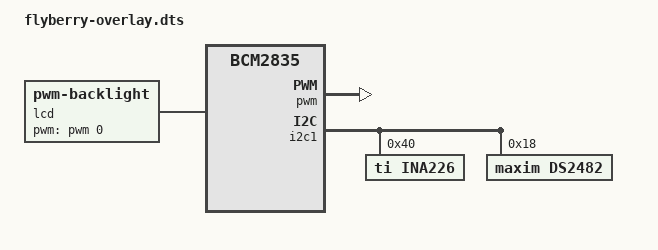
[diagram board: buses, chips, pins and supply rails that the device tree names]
/dts-v1/;
/plugin/;

/ {
    compatible = "brcm,bcm2835";

    fragment@0 {
        target = <&gpio>;
        __overlay__ {
            pwm_pins: pwm_pins {
                brcm,pins = <12>;
                brcm,function = <4>; /* Alt0 */
            };
        };
    };

    fragment@1 {
        target = <&pwm>;
        frag1: __overlay__ {
            pinctrl-names = "default";
            pinctrl-0 = <&pwm_pins>;
            assigned-clock-rates = <1000000>;
            status = "okay";
        };
    };

    fragment@2 {
        target-path = "/";
        __overlay__ {
           lcd: lcd {
				compatible = "pwm-backlight";
				brightness-levels = <255 180 150 120 100 90 80 70 60 40>;
				default-brightness-level = <10>;
				pwms = <&pwm 0 5000000 0>;
			};
        };
    };
    fragment@3 {
		target = <&i2c1>;
		__overlay__ {
			#address-cells = <1>;
			#size-cells = <0>;
			ina226@40 {
				compatible = "ti,ina226";
				reg = <0x40>;
				status = "okay";
				shunt-resistor = <10000>;
			};
		};
	};

	fragment@4 {
		arget = <&i2c1>;
		__overlay__ {
			#address-cells = <1>;
			#size-cells = <0>;

			tsl2591: tsl2591@29 {
			    compatible = "amtstaos,tsl2591";
			    reg = <0x29>;
			};
		};
	};
      
   fragment@5 {
	target = <&i2c1>;    
	__overlay__ {
		#address-cells = <1>;
		#size-cells = <0>;
		ds2482: ds2482@18 {
		        compatible = "maxim,ds2482";
		        reg = <0x18>;
            	};
	};
   };
};
